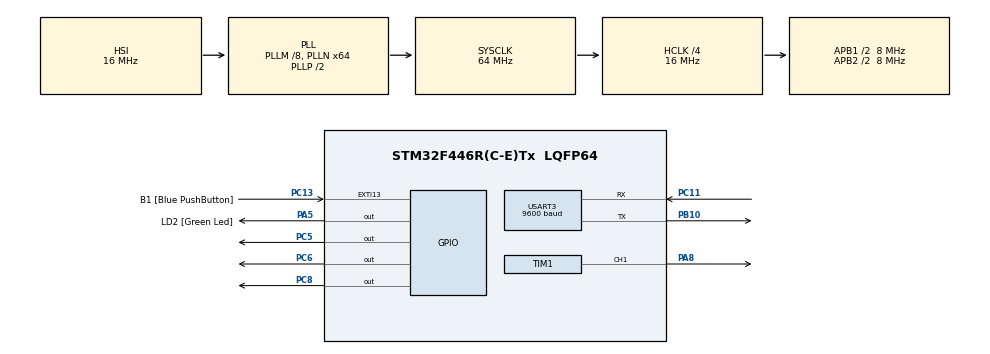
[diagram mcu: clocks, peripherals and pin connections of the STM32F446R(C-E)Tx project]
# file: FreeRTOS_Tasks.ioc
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Mcu.Family=STM32F4
Mcu.Name=STM32F446R(C-E)Tx
Mcu.Package=LQFP64
NVIC.EXTI15_10_IRQn=true\:6\:0\:true\:false\:true\:true\:true\:true
NVIC.PriorityGroup=NVIC_PRIORITYGROUP_4
NVIC.TIM6_DAC_IRQn=true\:15\:0\:true\:false\:true\:false\:true\:true
NVIC.TimeBase=TIM6_DAC_IRQn
NVIC.TimeBaseIP=TIM6
NVIC.USART3_IRQn=true\:6\:0\:true\:false\:true\:true\:true\:true
PA13.GPIO_Label=TMS
PA13.Mode=Serial_Wire
PA13.Signal=SYS_JTMS-SWDIO
PA14.GPIO_Label=TCK
PA14.Mode=Serial_Wire
PA14.Signal=SYS_JTCK-SWCLK
PA2.GPIO_Label=USART_TX
PA2.Signal=USART2_TX
PA3.GPIO_Label=USART_RX
PA3.Signal=USART2_RX
PA5.GPIO_Label=LD2 [Green Led]
PA5.Signal=GPIO_Output
PA8.Signal=S_TIM1_CH1
PB10.Mode=Asynchronous
PB10.Signal=USART3_TX
PB3.GPIO_Label=SWO
PB3.Signal=SYS_JTDO-SWO
PC11.Mode=Asynchronous
PC11.Signal=USART3_RX
PC13.GPIO_Label=B1 [Blue PushButton]
PC13.GPIO_ModeDefaultEXTI=GPIO_MODE_IT_FALLING
PC13.Signal=GPXTI13
PC14-OSC32_IN.Signal=RCC_OSC32_IN
PC15-OSC32_OUT.Signal=RCC_OSC32_OUT
PC5.Signal=GPIO_Output
PC6.Signal=GPIO_Output
PC8.Signal=GPIO_Output
PH0-OSC_IN.Signal=RCC_OSC_IN
PH1-OSC_OUT.Signal=RCC_OSC_OUT
ProjectManager.HeapSize=0x200
ProjectManager.StackSize=0x400
ProjectManager.TargetToolchain=STM32CubeIDE
RCC.48MHZClocksFreq_Value=84000000
RCC.AHBCLKDivider=RCC_SYSCLK_DIV4
RCC.AHBFreq_Value=16000000
RCC.APB1CLKDivider=RCC_HCLK_DIV2
RCC.APB1Freq_Value=8000000
RCC.APB1TimFreq_Value=16000000
RCC.APB2CLKDivider=RCC_HCLK_DIV2
RCC.APB2Freq_Value=8000000
RCC.APB2TimFreq_Value=16000000
RCC.CortexFreq_Value=16000000
RCC.FLatency-AdvancedSettings=FLASH_LATENCY_0
RCC.HCLKFreq_Value=16000000
RCC.HSE_VALUE=8000000
RCC.HSI_VALUE=16000000
RCC.PLLM=8
RCC.PLLN=64
RCC.SYSCLKFreq_VALUE=64000000
RCC.SYSCLKSource=RCC_SYSCLKSOURCE_PLLCLK
RCC.USBFreq_Value=64000000
RCC.VCOOutputFreq_Value=128000000
SH.S_TIM1_CH1.0=TIM1_CH1,PWM Generation1 CH1
TIM1.AutoReloadPreload=TIM_AUTORELOAD_PRELOAD_ENABLE
TIM1.Channel-PWM\ Generation1\ CH1=TIM_CHANNEL_1
TIM1.OCFastMode_PWM-PWM\ Generation1\ CH1=TIM_OCFAST_ENABLE
TIM1.Period=20000
TIM1.Prescaler=15
TIM1.Pulse-PWM\ Generation1\ CH1=43750
USART3.BaudRate=9600
USART3.Mode=MODE_TX_RX
USART3.VirtualMode=VM_ASYNC
VP_SYS_VS_tim6.Mode=TIM6
VP_TIM1_VS_ClockSourceINT.Mode=Internal
board=NUCLEO-F446RE

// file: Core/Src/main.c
/* USER CODE BEGIN Header */
/**
 ******************************************************************************
 * @file           : main.c
 * @brief          : Main program body
 ******************************************************************************
 * @attention
 *
 * Copyright (c) 2024 STMicroelectronics.
 * All rights reserved.
 *
 * This software is licensed under terms that can be found in the LICENSE file
 * in the root directory of this software component.
 * If no LICENSE file comes with this software, it is provided AS-IS.
 *
 ******************************************************************************
 */
/* USER CODE END Header */
#include "main.h"

/* USER CODE BEGIN Includes */

#include "FreeRTOS.h"
#include "task.h"

/* USER CODE END Includes */

/* USER CODE BEGIN PM */

#define DWT_CTRL			*((volatile uint32_t*)0xE0001000)
/* USER CODE END PM */

TIM_HandleTypeDef htim1;

UART_HandleTypeDef huart3;

void SystemClock_Config(void);
static void MX_GPIO_Init(void);
static void MX_TIM1_Init(void);
static void MX_USART3_UART_Init(void);
/* USER CODE BEGIN PFP */

void SystemWakeUp(void* parameters);

void StartEngine(void* parameters);

void ControlSpeedTask(void* parameters);

void ButtonTaskHandler(void* parameters);

void RecievePackTask(void* parameters);

/* USER CODE END PFP */

/* USER CODE BEGIN 0 */
static TaskHandle_t SystemWakeUpHandle =0 ,StartEngineHandle = 0 , ControlSpeedHandle = 0  ,RecievePackHandle = 0;
BaseType_t Local_Statue ;

char GlobalStart = 's' ;

uint8_t counter = 0 ;

uint8_t Distance = 0 ;

/* USER CODE END 0 */

int main(void)
{

	/* MCU Configuration--------------------------------------------------------*/

	/* Reset of all peripherals, Initializes the Flash interface and the Systick. */
	HAL_Init();

	/* Configure the system clock */
	SystemClock_Config();

	/* Initialize all configured peripherals */
	MX_GPIO_Init();
	MX_TIM1_Init();
	MX_USART3_UART_Init();
	/* USER CODE BEGIN 2 */
	/*Enable CYCLE COUNT REG OF CPU*/

	DWT_CTRL |=1 ;

	/*For SEGGER SYSVIEW TRACE*/

	SEGGER_UART_init(250000);

	/*CONFIG SYSVIEW */
	SEGGER_SYSVIEW_Conf();

	Local_Statue= xTaskCreate(SystemWakeUp, "SystemWakeUp", 200, NULL, 2, &SystemWakeUpHandle);

	configASSERT(Local_Statue == pdPASS);

	Local_Statue= xTaskCreate(StartEngine, "StartEngine", 200, NULL, 2, &StartEngineHandle);

	configASSERT(Local_Statue == pdPASS);

	Local_Statue= xTaskCreate(ControlSpeedTask, "ControlSpeedTask", 200, NULL, 2, &ControlSpeedHandle);

	configASSERT(Local_Statue == pdPASS);

	Local_Statue= xTaskCreate(RecievePackTask, "RecievePackTask", 200, NULL, 2, &RecievePackHandle);

	configASSERT(Local_Statue == pdPASS);

	vTaskStartScheduler();

	/* USER CODE END 2 */

	/* Infinite loop */
	while (1)
	{

	}
}

void SystemClock_Config(void)
{
	RCC_OscInitTypeDef RCC_OscInitStruct = {0};
	RCC_ClkInitTypeDef RCC_ClkInitStruct = {0};

	/** Configure the main internal regulator output voltage
	 */
	__HAL_RCC_PWR_CLK_ENABLE();
	__HAL_PWR_VOLTAGESCALING_CONFIG(PWR_REGULATOR_VOLTAGE_SCALE3);

	/** Initializes the RCC Oscillators according to the specified parameters
	 * in the RCC_OscInitTypeDef structure.
	 */
	RCC_OscInitStruct.OscillatorType = RCC_OSCILLATORTYPE_HSI;
	RCC_OscInitStruct.HSIState = RCC_HSI_ON;
	RCC_OscInitStruct.HSICalibrationValue = RCC_HSICALIBRATION_DEFAULT;
	RCC_OscInitStruct.PLL.PLLState = RCC_PLL_ON;
	RCC_OscInitStruct.PLL.PLLSource = RCC_PLLSOURCE_HSI;
	RCC_OscInitStruct.PLL.PLLM = 8;
	RCC_OscInitStruct.PLL.PLLN = 64;
	RCC_OscInitStruct.PLL.PLLP = RCC_PLLP_DIV2;
	RCC_OscInitStruct.PLL.PLLQ = 2;
	RCC_OscInitStruct.PLL.PLLR = 2;
	if (HAL_RCC_OscConfig(&RCC_OscInitStruct) != HAL_OK)
	{
		Error_Handler();
	}

	/** Initializes the CPU, AHB and APB buses clocks
	 */
	RCC_ClkInitStruct.ClockType = RCC_CLOCKTYPE_HCLK|RCC_CLOCKTYPE_SYSCLK
			|RCC_CLOCKTYPE_PCLK1|RCC_CLOCKTYPE_PCLK2;
	RCC_ClkInitStruct.SYSCLKSource = RCC_SYSCLKSOURCE_PLLCLK;
	RCC_ClkInitStruct.AHBCLKDivider = RCC_SYSCLK_DIV4;
	RCC_ClkInitStruct.APB1CLKDivider = RCC_HCLK_DIV2;
	RCC_ClkInitStruct.APB2CLKDivider = RCC_HCLK_DIV2;

	if (HAL_RCC_ClockConfig(&RCC_ClkInitStruct, FLASH_LATENCY_0) != HAL_OK)
	{
		Error_Handler();
	}
}

static void MX_TIM1_Init(void)
{

	TIM_ClockConfigTypeDef sClockSourceConfig = {0};
	TIM_MasterConfigTypeDef sMasterConfig = {0};
	TIM_OC_InitTypeDef sConfigOC = {0};
	TIM_BreakDeadTimeConfigTypeDef sBreakDeadTimeConfig = {0};

	htim1.Instance = TIM1;
	htim1.Init.Prescaler = 15;
	htim1.Init.CounterMode = TIM_COUNTERMODE_UP;
	htim1.Init.Period = 20000;
	htim1.Init.ClockDivision = TIM_CLOCKDIVISION_DIV1;
	htim1.Init.RepetitionCounter = 0;
	htim1.Init.AutoReloadPreload = TIM_AUTORELOAD_PRELOAD_ENABLE;
	if (HAL_TIM_Base_Init(&htim1) != HAL_OK)
	{
		Error_Handler();
	}
	sClockSourceConfig.ClockSource = TIM_CLOCKSOURCE_INTERNAL;
	if (HAL_TIM_ConfigClockSource(&htim1, &sClockSourceConfig) != HAL_OK)
	{
		Error_Handler();
	}
	if (HAL_TIM_PWM_Init(&htim1) != HAL_OK)
	{
		Error_Handler();
	}
	sMasterConfig.MasterOutputTrigger = TIM_TRGO_RESET;
	sMasterConfig.MasterSlaveMode = TIM_MASTERSLAVEMODE_DISABLE;
	if (HAL_TIMEx_MasterConfigSynchronization(&htim1, &sMasterConfig) != HAL_OK)
	{
		Error_Handler();
	}
	sConfigOC.OCMode = TIM_OCMODE_PWM1;
	sConfigOC.Pulse = 43750;
	sConfigOC.OCPolarity = TIM_OCPOLARITY_HIGH;
	sConfigOC.OCNPolarity = TIM_OCNPOLARITY_HIGH;
	sConfigOC.OCFastMode = TIM_OCFAST_ENABLE;
	sConfigOC.OCIdleState = TIM_OCIDLESTATE_RESET;
	sConfigOC.OCNIdleState = TIM_OCNIDLESTATE_RESET;
	if (HAL_TIM_PWM_ConfigChannel(&htim1, &sConfigOC, TIM_CHANNEL_1) != HAL_OK)
	{
		Error_Handler();
	}
	sBreakDeadTimeConfig.OffStateRunMode = TIM_OSSR_DISABLE;
	sBreakDeadTimeConfig.OffStateIDLEMode = TIM_OSSI_DISABLE;
	sBreakDeadTimeConfig.LockLevel = TIM_LOCKLEVEL_OFF;
	sBreakDeadTimeConfig.DeadTime = 0;
	sBreakDeadTimeConfig.BreakState = TIM_BREAK_DISABLE;
	sBreakDeadTimeConfig.BreakPolarity = TIM_BREAKPOLARITY_HIGH;
	sBreakDeadTimeConfig.AutomaticOutput = TIM_AUTOMATICOUTPUT_DISABLE;
	if (HAL_TIMEx_ConfigBreakDeadTime(&htim1, &sBreakDeadTimeConfig) != HAL_OK)
	{
		Error_Handler();
	}
	HAL_TIM_MspPostInit(&htim1);

}

static void MX_USART3_UART_Init(void)
{

	huart3.Instance = USART3;
	huart3.Init.BaudRate = 9600;
	huart3.Init.WordLength = UART_WORDLENGTH_8B;
	huart3.Init.StopBits = UART_STOPBITS_1;
	huart3.Init.Parity = UART_PARITY_NONE;
	huart3.Init.Mode = UART_MODE_TX_RX;
	huart3.Init.HwFlowCtl = UART_HWCONTROL_NONE;
	huart3.Init.OverSampling = UART_OVERSAMPLING_16;
	if (HAL_UART_Init(&huart3) != HAL_OK)
	{
		Error_Handler();
	}

}

static void MX_GPIO_Init(void)
{
	GPIO_InitTypeDef GPIO_InitStruct = {0};

	/* GPIO Ports Clock Enable */
	__HAL_RCC_GPIOC_CLK_ENABLE();
	__HAL_RCC_GPIOH_CLK_ENABLE();
	__HAL_RCC_GPIOA_CLK_ENABLE();
	__HAL_RCC_GPIOB_CLK_ENABLE();

	/*Configure GPIO pin Output Level */
	HAL_GPIO_WritePin(LD2_GPIO_Port, LD2_Pin, GPIO_PIN_RESET);

	/*Configure GPIO pin Output Level */
	HAL_GPIO_WritePin(GPIOC, GPIO_PIN_5|GPIO_PIN_6|GPIO_PIN_8, GPIO_PIN_RESET);

	/*Configure GPIO pin : B1_Pin */
	GPIO_InitStruct.Pin = B1_Pin;
	GPIO_InitStruct.Mode = GPIO_MODE_IT_FALLING;
	GPIO_InitStruct.Pull = GPIO_NOPULL;
	HAL_GPIO_Init(B1_GPIO_Port, &GPIO_InitStruct);

	/*Configure GPIO pins : USART_TX_Pin USART_RX_Pin */
	GPIO_InitStruct.Pin = USART_TX_Pin|USART_RX_Pin;
	GPIO_InitStruct.Mode = GPIO_MODE_AF_PP;
	GPIO_InitStruct.Pull = GPIO_NOPULL;
	GPIO_InitStruct.Speed = GPIO_SPEED_FREQ_VERY_HIGH;
	GPIO_InitStruct.Alternate = GPIO_AF7_USART2;
	HAL_GPIO_Init(GPIOA, &GPIO_InitStruct);

	/*Configure GPIO pin : LD2_Pin */
	GPIO_InitStruct.Pin = LD2_Pin;
	GPIO_InitStruct.Mode = GPIO_MODE_OUTPUT_PP;
	GPIO_InitStruct.Pull = GPIO_NOPULL;
	GPIO_InitStruct.Speed = GPIO_SPEED_FREQ_LOW;
	HAL_GPIO_Init(LD2_GPIO_Port, &GPIO_InitStruct);

	/*Configure GPIO pins : PC5 PC6 PC8 */
	GPIO_InitStruct.Pin = GPIO_PIN_5|GPIO_PIN_6|GPIO_PIN_8;
	GPIO_InitStruct.Mode = GPIO_MODE_OUTPUT_PP;
	GPIO_InitStruct.Pull = GPIO_NOPULL;
	GPIO_InitStruct.Speed = GPIO_SPEED_FREQ_LOW;
	HAL_GPIO_Init(GPIOC, &GPIO_InitStruct);

	/* EXTI interrupt init*/
	HAL_NVIC_SetPriority(EXTI15_10_IRQn, 6, 0);
	HAL_NVIC_EnableIRQ(EXTI15_10_IRQn);

}

/* USER CODE BEGIN 4 */
void SystemWakeUp(void* parameters)
{
	xTaskNotifyWait(0,0,NULL,pdMS_TO_TICKS(portMAX_DELAY));
	while(1)
	{

		SEGGER_SYSVIEW_PrintfTarget("SystemWakeUp");
		HAL_UART_Transmit(&huart3, &GlobalStart, 1, HAL_MAX_DELAY);

		xTaskNotifyWait(0,0,NULL,pdMS_TO_TICKS(portMAX_DELAY));
	}
	vTaskDelete(NULL);

}
void StartEngine(void* parameters)
{

	while(1)
	{

		SEGGER_SYSVIEW_PrintfTarget("StartEngine Task");

		HAL_TIM_PWM_Start(&htim1, TIM_CHANNEL_1);

		xTaskNotifyWait(0,0,NULL,pdMS_TO_TICKS(portMAX_DELAY));
	}
	vTaskDelete(NULL);

}
void ControlSpeedTask(void* parameters)
{
	xTaskNotifyWait(0,0,NULL,pdMS_TO_TICKS(portMAX_DELAY));
	while(1)
	{

		SEGGER_SYSVIEW_PrintfTarget("ControlSpeedTask");
		if(Distance > 10 )
		{
			if(counter = 1)
			{
				counter = 0 ;
				HAL_TIM_PWM_Start(&htim1, TIM_CHANNEL_1);
			}

			// Change Pulse Value

			__HAL_TIM_SET_COMPARE(&htim1 ,TIM_CHANNEL_1 , 15000 );

			xTaskNotifyWait(0,0,NULL,pdMS_TO_TICKS(portMAX_DELAY));
		}
		else if(Distance < 10 && Distance >7)
		{
			if(counter = 1)
			{
				counter = 0 ;
				HAL_TIM_PWM_Start(&htim1, TIM_CHANNEL_1);
			}

			// Change Pulse Value

			__HAL_TIM_SET_COMPARE(&htim1 ,TIM_CHANNEL_1 , 10000 );

			xTaskNotifyWait(0,0,NULL,pdMS_TO_TICKS(portMAX_DELAY));
		}
		else if(Distance < 7 && Distance >5)
		{
			if(counter = 1)
			{
				counter = 0 ;
				HAL_TIM_PWM_Start(&htim1, TIM_CHANNEL_1);
			}

			// Change Pulse Value
			__HAL_TIM_SET_COMPARE(&htim1 ,TIM_CHANNEL_1 , 5000 );

			xTaskNotifyWait(0,0,NULL,pdMS_TO_TICKS(portMAX_DELAY));

		}
		else if(Distance < 5 && Distance > 0 )
		{
			/*Motor Stop*/

			__HAL_TIM_SET_COMPARE(&htim1 ,TIM_CHANNEL_1 , 0 );
			counter=1;

		}

	}
	vTaskDelete(NULL);
}

void ButtonTaskHandler(void* parameters)
{

	//SEGGER_SYSVIEW_PrintfTarget("Button Task");

	BaseType_t HigherPriorityTaskWoken ;

	traceISR_ENTER();

	xTaskNotifyFromISR(SystemWakeUpHandle , 0 , eNoAction , &HigherPriorityTaskWoken);

	portYIELD_FROM_ISR(HigherPriorityTaskWoken);

	traceISR_EXIT();

}

HAL_UART_RxCpltCallback(UART_HandleTypeDef *huart)
{

	if(huart->Instance == USART3)
	{
		/*Recieve Data Packet*/
		static	BaseType_t xHigherPriorityTaskWoken ;

		if (Distance <10)
		{
			traceISR_ENTER();

			xTaskNotifyFromISR(ControlSpeedHandle,0 ,eNoAction ,&xHigherPriorityTaskWoken );

			portYIELD_FROM_ISR(xHigherPriorityTaskWoken);

			traceISR_EXIT();

		}

	}
}

void RecievePackTask(void* parameters)
{
	while(1)
	{

		HAL_UART_Receive_IT(&huart3, (uint8_t*)&Distance, sizeof(Distance));

	}
}
/* USER CODE END 4 */

void HAL_TIM_PeriodElapsedCallback(TIM_HandleTypeDef *htim)
{
	if (htim->Instance == TIM6) {
		HAL_IncTick();
	}
}

void Error_Handler(void)
{
	__disable_irq();
	while (1)
	{
	}
}
